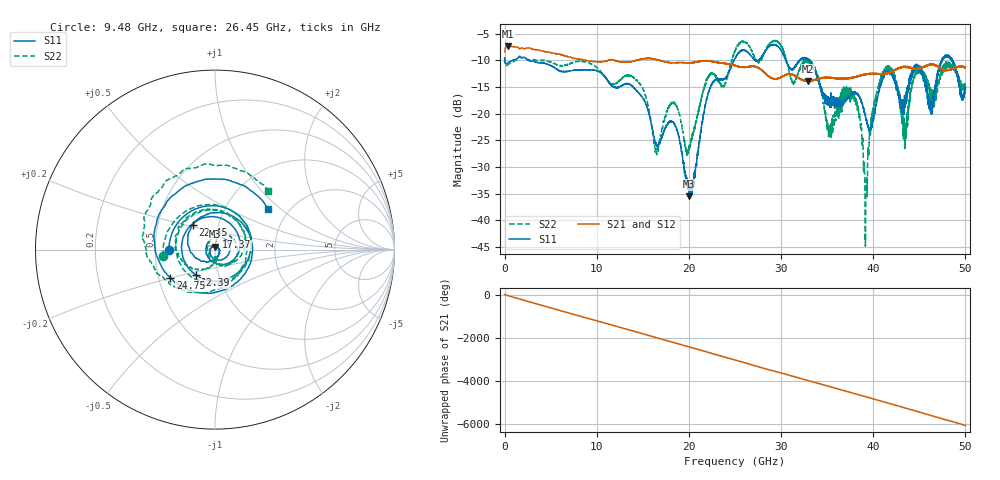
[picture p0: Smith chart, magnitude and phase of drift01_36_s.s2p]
!Created with skrf (http://scikit-rf.org).
# Hz S RI R 50.0
!freq ReS11 ImS11 ReS21 ImS21 ReS12 ImS12 ReS22 ImS22
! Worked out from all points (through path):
!   10001 points, 300 kHz to 50 GHz, reference 50 ohm
!   highest |S21| = -7.33 dB at 320.3 MHz (marker M1); lowest = -14.0 dB at 32.94 GHz (marker M2)
!   group delay of S21, straight-line fit = 335 ps
!   lowest |S11| = -35.6 dB at 20.01 GHz (marker M3), VSWR 1.03, Z = 50 + j1.67 ohm
!   |S11| at or under -10 dB: 2.549 GHz to 24.9 GHz (22.35 GHz wide, 163 % of centre); 30.51 GHz to 32.02 GHz (1.506 GHz wide, 4.82 % of centre); 33.07 GHz to 47.43 GHz (14.36 GHz wide, 35.7 % of centre) (the widest 3 of 23)
!   |S22| runs from -44.9 to -6.3 dB; largest |S21 - S12| = 0.0085
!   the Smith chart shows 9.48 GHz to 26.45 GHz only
!   S11 on the Smith chart (normalised r, x): 9.48 GHz: 0.59, -0.00; 12.39 GHz: 0.78, -0.23; 17.37 GHz: 1.01, +0.14; 22.45 GHz: 0.75, +0.22; 24.75 GHz: 0.58, -0.20; 26.45 GHz: 1.59, +0.83
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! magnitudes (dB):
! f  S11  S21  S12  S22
! 300 kHz  -9.5  -8.4  -8.5  -9.5
! 320.3 MHz  -10.5  -7.3  -7.3  -10.9
! 8.335 GHz  -11.8  -9.9  -9.9  -10.2
! 9.48 GHz  -11.8  -10.2  -10.2  -10.7
! 12.39 GHz  -15.0  -10.2  -10.2  -13.9
! 16.67 GHz  -26.0  -10.0  -10.0  -27.1
! 17.37 GHz  -23.1  -10.3  -10.3  -20.7
! 20.01 GHz  -35.6  -10.5  -10.5  -26.7
! 22.45 GHz  -14.6  -10.2  -10.2  -12.6
! 24.75 GHz  -10.6  -10.9  -10.8  -9.4
! 25 GHz  -9.6  -11.0  -11.0  -8.3
! 26.45 GHz  -8.6  -11.2  -11.2  -7.1
! 32.94 GHz  -10.0  -14.0  -13.9  -10.3
! 33.34 GHz  -10.8  -13.8  -13.8  -10.6
! 35.23 GHz  -17.1  -13.3  -13.3  -22.6
! 37.99 GHz  -15.9  -13.1  -13.1  -16.9
! 39.17 GHz  -20.5  -12.6  -12.6  -41.6
! 40.14 GHz  -20.0  -12.5  -12.5  -18.0
! 41.67 GHz  -12.0  -12.4  -12.4  -12.0
! 43.45 GHz  -17.7  -11.3  -11.3  -24.2
! 44.88 GHz  -11.2  -11.6  -11.6  -11.8
! 50 GHz  -15.5  -11.3  -11.4  -15.2
